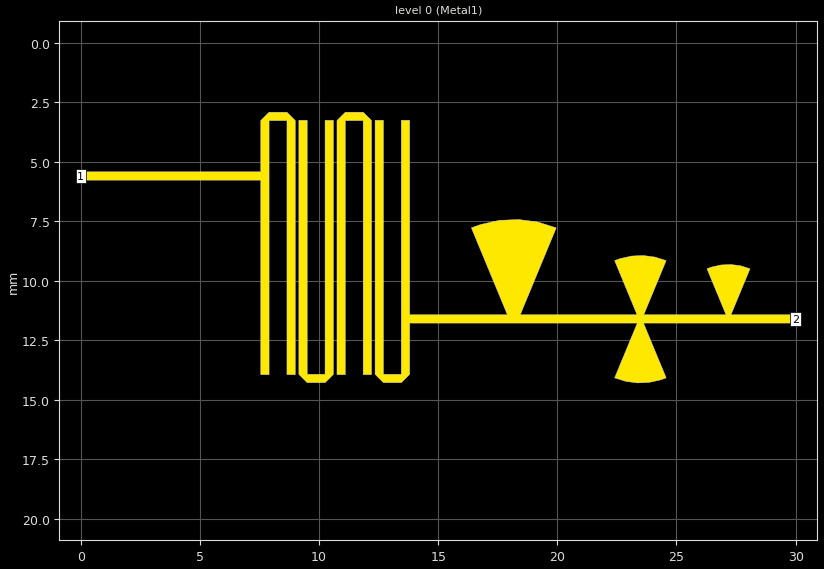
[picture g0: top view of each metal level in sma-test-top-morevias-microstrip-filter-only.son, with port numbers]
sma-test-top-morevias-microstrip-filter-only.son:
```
FTYP SONPROJ 18 ! Sonnet Project File
VER 17.56
HEADER
LIC antikernel2.1.50170 ac1f6b6437c5 havequick azonenberg Level3Gold
DAT 06/08/2021 20:00:13
BUILT_BY_CREATED dxf 17.52.2 05/01/2020 05:35:06
BUILT_BY_SAVED sonnet 17.56
MDATE 06/08/2021 08:26:33
HDATE 06/08/2021 08:26:33
ANN Created by dxfgeo, Sonnet Software Inc.
END HEADER
DIM
ANG DEG
CAP PF
CON /OH
FREQ GHZ
IND NH
LNG MM
RES OH
END DIM
CONTROL
VARSWP
OPTIONS  -dj
SPEED 1
CACHE_ABS 1
Q_ACC N
END CONTROL
GEO
TMET "Free Space" 0 FREESPACE 376.7303136 0 0 0
BMET "Lossless" 0 SUP 0 0 0 0
MET "Copper 1oz thick" 2 TMM 58000000 0.5 0.035 2
MET "Nickel " 3 TMM 14300000 0.5 3.5e-05 2
MET "Copper 0.5oz" 1 NOR 58000000 0.5 0.0175 
MET "Unknown_metal" 1 NOR INF 0.5 0 
MET "Unknown_metal" 1 VOL INF 0
BRI "Alumina (96%)" 0 9.4 0.0004 0 
BRI "Alumina (99.5%)" 0 9.9 0.0001 0 
BRI "Aluminum Nitride" 0 8.6 0.0003 0 
BRI "Arlon 25FR" 0 3.58 0.0035 0 
BRI "Arlon 25N" 0 3.38 0.0025 0 
BRI "Arlon AD5" 0 5.1 0.003 0 
BRI "Arlon AD10" 0 10.2 0.005 0 
BRI "Arlon AD250" 0 2.5 0.0018 0 
BRI "Arlon AD255A" 0 2.55 0.0015 0 
BRI "Arlon AD260A" 0 2.6 0.0018 0 
BRI "Arlon AD270" 0 2.7 0.0023 0 
BRI "Arlon AD300A" 0 3 0.002 0 
BRI "Arlon AD320A" 0 3.2 0.0032 0 
BRI "Arlon AD350A" 0 3.5 0.003 0 
BRI "Arlon AD410" 0 4.1 0.003 0 
BRI "Arlon AD430" 0 4.3 0.003 0 
BRI "Arlon AD450" 0 4.5 0.0035 0 
BRI "Arlon AD600" 0 6.15 0.003 0 
BRI "Arlon AD1000" 0 10.2 0.0023 0 
BRI "Arlon AR1000" 0 9.8 0.003 0 
BRI "Arlon CLTE" 0 2.96 0.0023 0 
BRI "Arlon CLTE-AT" 0 3 0.0013 0 
BRI "Arlon CLTE-P" 0 2.94 0.0025 0 
BRI "Arlon CLTE-XT" 0 2.94 0.0012 0 
BRI "Arlon Cu 217LX" 0 2.17 0.0009 0 
BRI "Arlon Cu 233LX" 0 2.33 0.0013 0 
BRI "Arlon Cu 250GT" 0 2.5 0.001 0 
BRI "Arlon Cu 250GX" 0 2.5 0.0018 0 
BRI "Arlon Cu 6250" 0 2.32 0.0013 0 
BRI "Arlon Cu 6700" 0 2.35 0.0025 0 
BRI "Arlon Di 522" 0 2.5 0.001 0 
BRI "Arlon Di 527" 0 2.5 0.0018 0 
BRI "Arlon Di 870" 0 2.33 0.0013 0 
BRI "Arlon Di 880" 0 2.17 0.0009 0 
BRI "Arlon Iso 917" 0 2.17 0.0013 0 
BRI "Arlon Iso 933" 0 2.33 0.0016 0 
BRI "Arlon Multi HF" 0 3.7 0.004 0 
BRI "Arlon TC350" 0 3.5 0.002 0 
BRI "Arlon TC600" 0 6.15 0.002 0 
BRI "Beryllia (99.5%)" 0 6.5 0.0004 0 
BRI "CEM-1" 0 4.5 0.02 0 
BRI "CEM-3" 0 4.5 0.02 0 
BRI "Dupont 9K7" 0 7.1 0.0012 0 
BRI "Dupont 943" 0 7.4 0.002 0 
BRI "Dupont 951" 0 7.8 0.006 0 
BRI "Dupont FEP" 0 2 0.0005 0 
BRI "Dupont Vacrel" 0 3.8 0.011 0 
BRI "ESL 41010" 0 7.5 0.005 0 
BRI "ESL 41020" 0 7.25 0.005 0 
BRI "ESL 41050" 0 13.5 0.002 0 
BRI "ESL 41060" 0 16.5 0.002 0 
BRI "ESL 41110" 0 4.5 0.004 0 
BRI "Ferro A6M" 0 5.9 0.002 0 
BRI "Ferro A6S" 0 5.9 0.002 0 
BRI "Ferro L8" 0 7.3 0.0018 0 
BRI "FR-4" 0 4.4 0.02 0 
BRI "G-10" 0 4.8 0.025 0 
BRI "Gallium Arsenide" 0 12.9 0.006 0 
BRI "Gallium Nitride" 0 9.7 0 0 
BRI "Glass (Pyrex)" 0 4.82 0.0054 0 
BRI "Heraeus HL2000" 0 7.3 0.0026 0 
BRI "Isola 370HR" 0 4.04 0.021 0 
BRI "Isola FR408" 0 3.77 0.0116 0 
BRI "Isola FR408HR" 0 3.68 0.0092 0 
BRI "Isola Getek" 0 3.6 0.01 0 
BRI "Isola GI-180" 0 3.7 0.013 0 
BRI "Isola IS415" 0 3.82 0.0125 0 
BRI "Isola IS620i" 0 3.58 0.006 0 
BRI "Isola IS680-280" 0 2.8 0.0025 0 
BRI "Isola IS680-300" 0 3 0.003 0 
BRI "Isola IS680-320" 0 3.2 0.003 0 
BRI "Isola IS680-333" 0 3.33 0.003 0 
BRI "Isola IS680-338" 0 3.38 0.0032 0 
BRI "Isola IS680-345" 0 3.45 0.0036 0 
BRI "Kerafol CT800" 0 5.3 0.008 0 
BRI "Nelco MW9350" 0 3.7 0.004 0 
BRI "Nelco N4000-12" 0 3.7 0.008 0 
BRI "Nelco N4000-13" 0 3.7 0.009 0 
BRI "Nelco N4000-13SI" 0 3.2 0.007 0 
BRI "Nelco N4000-13EP" 0 3.7 0.008 0 
BRI "Nelco N4350-13RF" 0 3.5 0.0065 0 
BRI "Nelco N4380-13RF" 0 3.8 0.007 0 
BRI "Nelco N9300-13RF" 0 3 0.004 0 
BRI "Nelco N9320-13RF" 0 3.2 0.0045 0 
BRI "Nelco N9338-13RF" 0 3.38 0.0046 0 
BRI "Nelco N9350-13RF" 0 3.48 0.0055 0 
BRI "Nelco NH9294" 0 2.94 0.0022 0 
BRI "Nelco NH9300" 0 3 0.0023 0 
BRI "Nelco NH9320" 0 3.2 0.0024 0 
BRI "Nelco NH9338" 0 3.38 0.0025 0 
BRI "Nelco NH9348" 0 3.48 0.003 0 
BRI "Nelco NH9350" 0 3.5 0.003 0 
BRI "Nelco NH9410" 0 4.1 0.003 0 
BRI "Nelco NH9450" 0 4.5 0.003 0 
BRI "Nelco NX9240" 0 2.4 0.0016 0 
BRI "Nelco NX9245" 0 2.45 0.0016 0 
BRI "Nelco NX9250" 0 2.5 0.0017 0 
BRI "Nelco NX9255" 0 2.55 0.0018 0 
BRI "Nelco NX9260" 0 2.6 0.0019 0 
BRI "Nelco NY9208" 0 2.08 0.0006 0 
BRI "Nelco NY9217" 0 2.17 0.0008 0 
BRI "Nelco NY9220" 0 2.2 0.0009 0 
BRI "Nelco NY9233" 0 2.33 0.0011 0 
BRI "PET" 0 3.37 0.0208 0 
BRI "Polyimide" 0 3.5 0.003 0 
BRI "Quartz (Fused)" 0 3.78 0.0001 0 
BRI "Rogers 3001" 0 2.28 0.003 0 
BRI "Rogers RO2808" 0 7.6 0.0015 0 
BRI "Rogers RO3003" 0 3 0.0013 0 
BRI "Rogers RO3006" 0 6.5 0.002 0 
BRI "Rogers RO3010" 0 11.2 0.0022 0 
BRI "Rogers RO3035" 0 3.6 0.0018 0 
BRI "Rogers RO3203" 0 3.02 0.0016 0 
BRI "Rogers RO3206" 0 6.6 0.0027 0 
BRI "Rogers RO3210" 0 10.8 0.0027 0 
BRI "Rogers RO3730" 0 3 0.0016 0 
BRI "Rogers RO4003C" 0 3.55 0.0029 0 
BRI "Rogers RO4533" 0 3.45 0.0029 0 
BRI "Rogers RO4534" 0 3.4 0.003 0 
BRI "Rogers RO4350B" 0 3.66 0.0037 0 
BRI "Rogers RO4350BTX" 0 3.66 0.0034 0 
BRI "Rogers RO4360" 0 6.15 0.0038 0 
BRI "Rogers RO4450B-3.6" 0 3.3 0.0043 0 
BRI "Rogers RO4450B-4" 0 3.54 0.004 0 
BRI "Rogers RO4450F" 0 3.52 0.0041 0 
BRI "Rogers RO4730" 0 3 0.0033 0 
BRI "Rogers RT5870" 0 2.33 0.0012 0 
BRI "Rogers RT5880" 0 2.2 0.0009 0 
BRI "Rogers RT5880LZ" 0 1.96 0.0019 0 
BRI "Rogers RT6002" 0 2.94 0.0012 0 
BRI "Rogers RT6006" 0 6.15 0.0027 0 
BRI "Rogers RT6010LM" 0 10.9 0.0023 0 
BRI "Rogers RT6035HTC" 0 3.6 0.0013 0 
BRI "Rogers RT6202" 0 2.94 0.0015 0 
BRI "Rogers RT6202PR" 0 2.95 0.0015 0 
BRI "Rogers Syron7000" 0 3.4 0.0045 0 
BRI "Rogers Syron7100-2" 0 3.61 0.006 0 
BRI "Rogers Syron7100-4" 0 3.39 0.005 0 
BRI "Rogers Theta" 0 4.01 0.0118 0 
BRI "Rogers TMM 3" 0 3.39 0.002 0 
BRI "Rogers TMM 4" 0 4.5 0.002 0 
BRI "Rogers TMM 6" 0 6 0.0023 0 
BRI "Rogers TMM 10" 0 9.56 0.0022 0 
BRI "Rogers TMM 10i" 0 9.96 0.002 0 
BRI "Rogers UL2000" 0 2.5 0.0019 0 
BRI "Rogers UL3850" 0 3.05 0.0025 0 
BRI "Rogers UL3908" 0 2.9 0.0025 0 
BRI "Rogers XT8000" 0 3.34 0.0035 0 
BRI "Rogers XT8100-2" 0 3.54 0.0049 0 
BRI "Rogers XT8100-4" 0 3.32 0.0038 0 
BRI "Silicon (intrinsic)" 0 11.9 0.004 0.00044 
BRI "Silicon Dioxide" 0 3.9 0 0 
BRI "Silicon Nitride" 0 7.5 0 0 
BRI "Taconic CER-10" 0 10 0.0035 0 
BRI "Taconic FastFilm" 0 2.7 0.0012 0 
BRI "Taconic Fastrise-DS" 0 2.96 0.0018 0 
BRI "Taconic Fastrise27" 0 2.7 0.0014 0 
BRI "Taconic Fastrise77" 0 7.7 0.0034 0 
BRI "Taconic FEP" 0 2 0.0003 0 
BRI "Taconic RF-30" 0 3 0.0014 0 
BRI "Taconic RF-35" 0 3.5 0.0018 0 
BRI "Taconic RF-35A2" 0 3.5 0.0011 0 
BRI "Taconic RF-35P" 0 3.5 0.0025 0 
BRI "Taconic RF-41" 0 4.1 0.0038 0 
BRI "Taconic RF-43" 0 4.3 0.0033 0 
BRI "Taconic RF-45" 0 4.5 0.0037 0 
BRI "Taconic RF-60A" 0 6.15 0.0038 0 
BRI "Taconic RF-301" 0 2.97 0.0012 0 
BRI "Taconic TacBond HT" 0 2.35 0.0025 0 
BRI "Taconic TLA-6" 0 2.62 0.0012 0 
BRI "Taconic TLC-27" 0 2.75 0.003 0 
BRI "Taconic TLC-30" 0 3 0.003 0 
BRI "Taconic TLC-32" 0 3.2 0.003 0 
BRI "Taconic TLE-95" 0 2.95 0.0028 0 
BRI "Taconic TLF-34" 0 3.4 0.002 0 
BRI "Taconic TLF-35" 0 3.5 0.002 0 
BRI "Taconic TLP-3" 0 2.33 0.0009 0 
BRI "Taconic TLP-5" 0 2.2 0.0009 0 
BRI "Taconic TLP-5A" 0 2.17 0.0009 0 
BRI "Taconic TLT-0" 0 2.45 0.0006 0 
BRI "Taconic TLT-9" 0 2.5 0.0006 0 
BRI "Taconic TLT-8" 0 2.55 0.0006 0 
BRI "Taconic TLT-7" 0 2.6 0.0006 0 
BRI "Taconic TLT-6" 0 2.65 0.0006 0 
BRI "Taconic TLX-0" 0 2.45 0.0019 0 
BRI "Taconic TLX-9" 0 2.5 0.0019 0 
BRI "Taconic TLX-8" 0 2.55 0.0019 0 
BRI "Taconic TLX-7" 0 2.6 0.0019 0 
BRI "Taconic TLX-6" 0 2.65 0.0019 0 
BRI "Taconic TLY-3" 0 2.33 0.0009 0 
BRI "Taconic TLY-3F" 0 2.33 0.0009 0 
BRI "Taconic TLY-5" 0 2.2 0.0009 0 
BRI "Taconic TLY-5-L" 0 2.2 0.0009 0 
BRI "Taconic TLY-5A" 0 2.17 0.0009 0 
BRI "Taconic TLY-5A-L" 0 2.17 0.0009 0 
BRI "Taconic TPG-30" 0 3 0.0038 0 
BRI "Taconic TPG-32" 0 3.2 0.005 0 
BRI "Taconic TPG-35" 0 3.5 0.005 0 
BRI "Taconic TRF-41" 0 4.1 0.0035 0 
BRI "Taconic TRF-43" 0 4.3 0.0035 0 
BRI "Taconic TRF-45" 0 4.5 0.0035 0 
BRI "Taconic TSM-DS" 0 2.85 0.001 0 
BRI "Taconic TSM-DS3" 0 3 0.0011 0 
BRI "Taconic TSM-26" 0 2.6 0.0014 0 
BRI "Taconic TSM-29" 0 2.94 0.0013 0 
BRI "Taconic TSM-30" 0 3 0.0013 0 
BRI "Teflon (PTFE)" 0 2.08 0.0004 0 
BOX 1 30 20 1200 1600 20 0
      1 1 1 0 0 0 0 "Air"
      0.166 3.6 1 0.0092 0 0 0 "Isola FR408HR"
TECHLAY METAL Metal1 BLACK -2 0 
0 0 0 T 3092 1 1 100 100 0 0 0 Y
END
END
TECHLAY VIA Via1 <UNSPECIFIED> -4 0 
VIA POLYGON
1 0 -1 N 3183 1 1 100 100 0 0 0 Y
TOLEVEL 0 RING NOCOVERS
END
END
VALVAR BOTLEN LNG 2 "Dim. Param."
VALVAR TOPLEN LNG 3 "Dim. Param."
VALVAR LEFTFEED LNG 2.5 "Dim. Param."
VALVAR RIGHTFEED LNG "LEFTFEED" "Dim. Param."
LORGN 0 20 U 
POR1 BOX
POLY 2076 1
6
1 50 0 0 0 0 5.6 
POR1 BOX
POLY 2871 1
4
2 50 0 0 0 30 11.6 
NUM 5
0 5 0 T 2055 1 1 100 100 0 0 0 Y
TLAYNAM Metal1 INH
9.0625 1.925
9.061245 1.925
9.0625 1.926255
9.0625 1.925
9.0625 1.925
END
0 16 0 T 2058 1 1 100 100 0 0 0 Y
TLAYNAM Metal1 INH
9.15 13.9262575
9.4987425 14.275
9.5 14.275
10.25 14.275
10.2525125 14.275
10.6 13.9275125
10.6 3.2625
10.25 3.2625
10.25 13.925
9.5 13.925
9.5 3.2625
9.15 3.2625
9.15 13.925
9.15 13.925
9.15 13.9262575
9.15 13.9262575
END
0 16 0 T 2061 1 1 100 100 0 0 0 Y
TLAYNAM Metal1 INH
10.75 3.2737425
11.0987425 2.925
11.1 2.925
11.85 2.925
11.8525125 2.925
12.2 3.2724875
12.2 13.9375
11.85 13.9375
11.85 3.275
11.1 3.275
11.1 13.9375
10.75 13.9375
10.75 3.275
10.75 3.275
10.75 3.2737425
10.75 3.2737425
END
0 16 0 T 2076 1 1 100 100 0 0 0 Y
TLAYNAM Metal1 INH
9 3.275
9 3.2737425
8.6512575 2.925
7.8974875 2.925
7.55 3.2724875
7.55 5.425
0 5.425
0 5.775
7.55 5.775
7.55 13.9375
7.9 13.9375
7.9 3.275
8.65 3.275
8.65 13.9375
9 13.9375
9 3.275
END
0 48 0 T 2871 1 1 100 100 0 0 0 Y
TLAYNAM Metal1 INH
23.8550375 14.264595
24.3360725 14.157955
24.567795 14.0736125
23.6156776 11.775
30 11.775
30 11.425
27.28747337 11.425
28.087455 9.493675
27.694905 9.369905
27.28682 9.31618
26.87561 9.33413
26.47376 9.42322
26.280185 9.493675
27.08016663 11.425
23.62603194 11.425
24.567795 9.15139
24.097885 9.003225
23.609385 8.938915
23.117135 8.960405
22.6361 9.06705
22.40438 9.15139
23.34613813 11.425
18.44238728 11.425
19.953385 7.77713
19.179805 7.533225
18.375625 7.42735
17.565275 7.46273
16.77338 7.63829
16.391915 7.77713
17.90291272 11.425
13.8 11.425
13.8 3.2625
13.45 3.2625
13.45 13.925
12.7 13.925
12.7 3.2625
12.35 3.2625
12.35 13.925
12.35 13.9262575
12.6987425 14.275
13.4525125 14.275
13.8 13.9275125
13.8 11.775
23.35649138 11.775
22.4043775 14.0736125
22.8742875 14.2217775
23.3627875 14.28609
23.8550375 14.264595
END
END GEO
OPT
MAX 100
END OPT
VARSWP
SWPVARS ON
ENABLED Y
FREQ Y AY ABS_ENTRY 0.01 26.0 -1 300 
FREQ Y AN LIST 4.0 8.0 22.9 23.0
VAR LEFTFEED N 0.5 10.5 1.0
END
END VARSWP
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```
